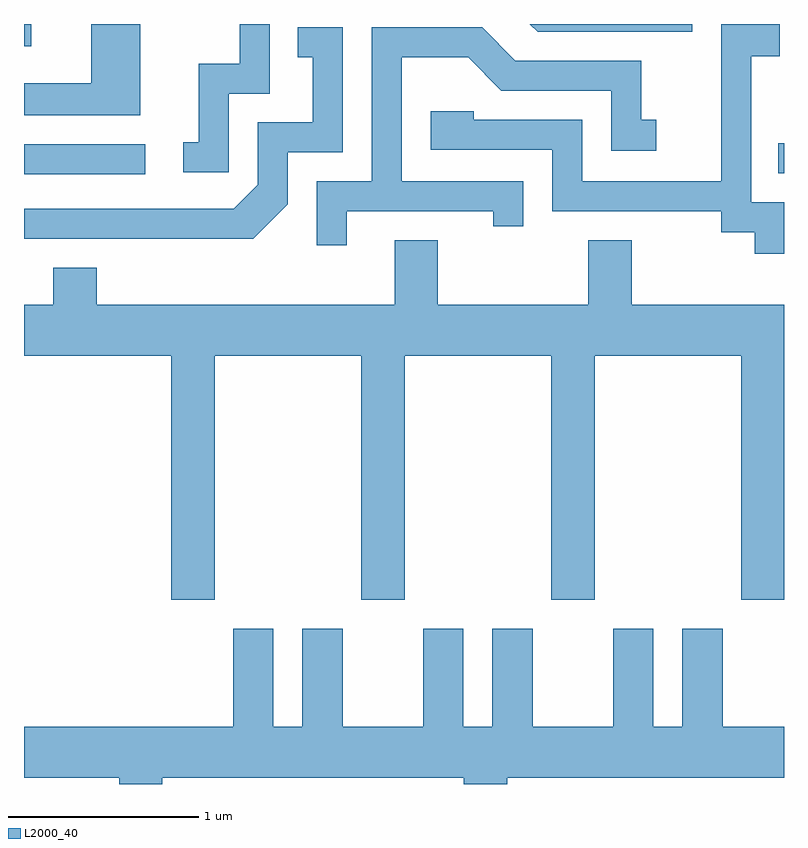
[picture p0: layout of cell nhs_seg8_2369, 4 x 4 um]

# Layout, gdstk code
import gdstk
lib = gdstk.Library(unit=1e-6, precision=1e-09)
def R(c, l, rs):  # rectangles x0, y0, x1, y1
    for r in rs: c.add(gdstk.rectangle(r[:2], r[2:], *l))
def P(c, l, *ps):  # polygons
    for p in ps: c.add(gdstk.Polygon(p, *l))
L2000_40 = (2000, 40)

nhs_seg8_2369 = lib.new_cell('nhs_seg8_2369')
R(nhs_seg8_2369, L2000_40, [(255.611,1879.551,256.248,1879.709), (259.582,1879.556,259.611,1879.714), (255.611,1880.226,255.649,1880.342)])
P(nhs_seg8_2369, L2000_40, [(256.224,1880.342),(255.966,1880.342),(255.966,1880.029),(255.611,1880.029),(255.611,1879.861),(256.224,1879.861)],
  [(259.129,1880.342),(258.273,1880.342),(258.314,1880.301),(259.129,1880.301)],
  [(256.689,1879.976),(256.904,1879.976),(256.904,1880.342),(256.746,1880.342),(256.746,1880.134),(256.531,1880.134),(256.531,1879.719),(256.448,1879.719),(256.448,1879.561),(256.689,1879.561)],
  [(259.611,1879.404),(259.439,1879.404),(259.439,1880.171),(259.589,1880.171),(259.589,1880.342),(259.281,1880.342),(259.281,1879.514),(258.549,1879.514),(258.549,1879.839),(257.979,1879.839),(257.979,1879.884),(257.751,1879.884),(257.751,1879.681),(258.391,1879.681),(258.391,1879.356),(259.281,1879.356),(259.281,1879.246),(259.456,1879.246),(259.456,1879.133),(259.611,1879.133)],
  [(257.309,1879.356),(258.081,1879.356),(258.081,1879.278),(258.239,1879.278),(258.239,1879.514),(257.599,1879.514),(257.599,1880.166),(257.949,1880.166),(258.123,1879.991),(258.701,1879.991),(258.701,1879.676),(258.938,1879.676),(258.938,1879.839),(258.859,1879.839),(258.859,1880.149),(258.197,1880.149),(258.022,1880.324),(257.441,1880.324),(257.441,1879.514),(257.151,1879.514),(257.151,1879.178),(257.309,1879.178)],
  [(256.999,1879.394),(256.999,1879.666),(257.289,1879.666),(257.289,1880.324),(257.053,1880.324),(257.053,1880.166),(257.131,1880.166),(257.131,1879.824),(256.841,1879.824),(256.841,1879.497),(256.714,1879.369),(255.611,1879.369),(255.611,1879.211),(256.817,1879.211)],
  [(256.614,1878.596),(257.386,1878.596),(257.386,1877.311),(257.614,1877.311),(257.614,1878.596),(258.386,1878.596),(258.386,1877.311),(258.614,1877.311),(258.614,1878.596),(259.386,1878.596),(259.386,1877.311),(259.611,1877.311),(259.611,1878.864),(258.809,1878.864),(258.809,1879.204),(258.581,1879.204),(258.581,1878.864),(257.789,1878.864),(257.789,1879.204),(257.561,1879.204),(257.561,1878.864),(255.994,1878.864),(255.994,1879.059),(255.766,1879.059),(255.766,1878.864),(255.611,1878.864),(255.611,1878.596),(256.386,1878.596),(256.386,1877.311),(256.614,1877.311)],
  [(256.339,1876.376),(257.926,1876.376),(257.926,1876.342),(258.154,1876.342),(258.154,1876.376),(259.611,1876.376),(259.611,1876.644),(259.289,1876.644),(259.289,1877.159),(259.076,1877.159),(259.076,1876.644),(258.924,1876.644),(258.924,1877.159),(258.711,1877.159),(258.711,1876.644),(258.289,1876.644),(258.289,1877.159),(258.076,1877.159),(258.076,1876.644),(257.924,1876.644),(257.924,1877.159),(257.711,1877.159),(257.711,1876.644),(257.289,1876.644),(257.289,1877.159),(257.076,1877.159),(257.076,1876.644),(256.924,1876.644),(256.924,1877.159),(256.711,1877.159),(256.711,1876.644),(255.611,1876.644),(255.611,1876.376),(256.111,1876.376),(256.111,1876.342),(256.339,1876.342)])

lib.write_gds('nhs_seg8_2369.gds')
